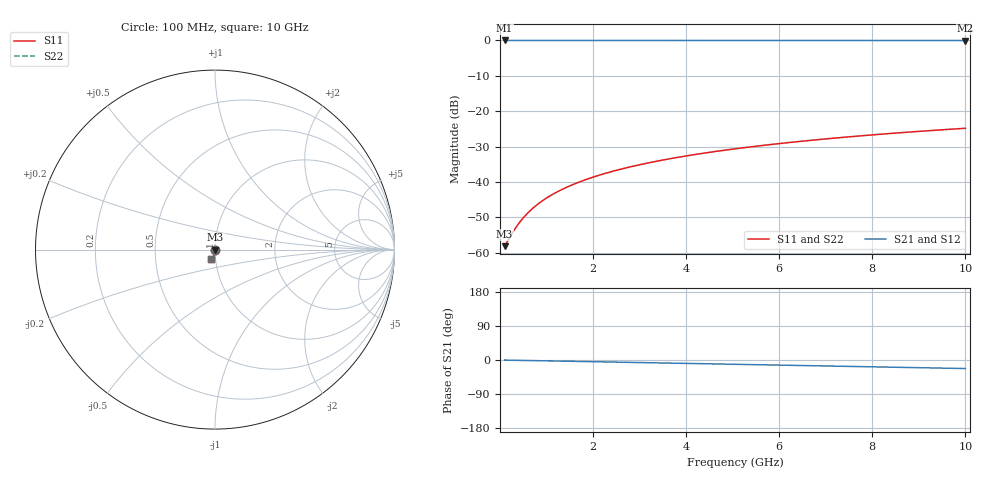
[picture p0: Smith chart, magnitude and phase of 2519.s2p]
# Hz S RI R 50.00
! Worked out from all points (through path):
!   100 points, 100 MHz to 10 GHz, reference 50 ohm
!   highest |S21| = -0.01 dB at 100 MHz (marker M1); lowest = 0.0 dB at 10 GHz (marker M2)
!   group delay of S21, straight-line fit = 6.26 ps
!   lowest |S11| = -58.1 dB at 100 MHz (marker M3), VSWR 1.00, Z = 50.1 - j0.0587 ohm
!   |S11| at or under -10 dB: start of sweep to end of sweep
!   |S22| runs from -58.1 to -24.8 dB; largest |S21 - S12| = 0
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1e8  0.00109 -0.000586  0.9989 -0.00391  0.9989 -0.00391  0.00109 -0.000586
3e8  0.00108 -0.00176  0.9988 -0.0117  0.9988 -0.0117  0.00108 -0.00176
4e8  0.00107 -0.00234  0.9988 -0.0156  0.9988 -0.0156  0.00107 -0.00234
5e8  0.00105 -0.00293  0.9987 -0.0195  0.9987 -0.0195  0.00105 -0.00293
6e8  0.00102 -0.00351  0.9986 -0.0234  0.9986 -0.0234  0.00102 -0.00351
7e8  0.000995 -0.0041  0.9985 -0.0273  0.9985 -0.0273  0.000995 -0.0041
8e8  0.000962 -0.00468  0.9984 -0.0313  0.9984 -0.0313  0.000962 -0.00468
9e8  0.000923 -0.00527  0.9982 -0.0352  0.9982 -0.0352  0.000923 -0.00527
1e9  0.00088 -0.00585  0.9981 -0.0391  0.9981 -0.0391  0.00088 -0.00585
1.2e9  0.00078 -0.00702  0.9977 -0.0469  0.9977 -0.0469  0.00078 -0.00702
1.5e9  0.000595 -0.00878  0.9971 -0.0586  0.9971 -0.0586  0.000595 -0.00878
1.8e9  0.000368 -0.0105  0.9963 -0.0703  0.9963 -0.0703  0.000368 -0.0105
2.1e9  9.93e-05 -0.0123  0.9954 -0.082  0.9954 -0.082  9.93e-05 -0.0123
2.5e9  -0.000323 -0.0146  0.9939 -0.0976  0.9939 -0.0976  -0.000323 -0.0146
2.9e9  -0.000818 -0.0169  0.9922 -0.1132  0.9922 -0.1132  -0.000818 -0.0169
3.4e9  -0.00154 -0.0198  0.9897 -0.1326  0.9897 -0.1326  -0.00154 -0.0198
4.2e9  -0.00293 -0.0243  0.9849 -0.1636  0.9849 -0.1636  -0.00293 -0.0243
5.1e9  -0.00483 -0.0293  0.9784 -0.1983  0.9784 -0.1983  -0.00483 -0.0293
5.9e9  -0.00681 -0.0336  0.9715 -0.229  0.9715 -0.229  -0.00681 -0.0336
6.7e9  -0.00907 -0.0378  0.9636 -0.2594  0.9636 -0.2594  -0.00907 -0.0378
8.4e9  -0.0147 -0.0462  0.9435 -0.3233  0.9435 -0.3233  -0.0147 -0.0462
1e10  -0.021 -0.0533  0.9207 -0.3822  0.9207 -0.3822  -0.021 -0.0533
